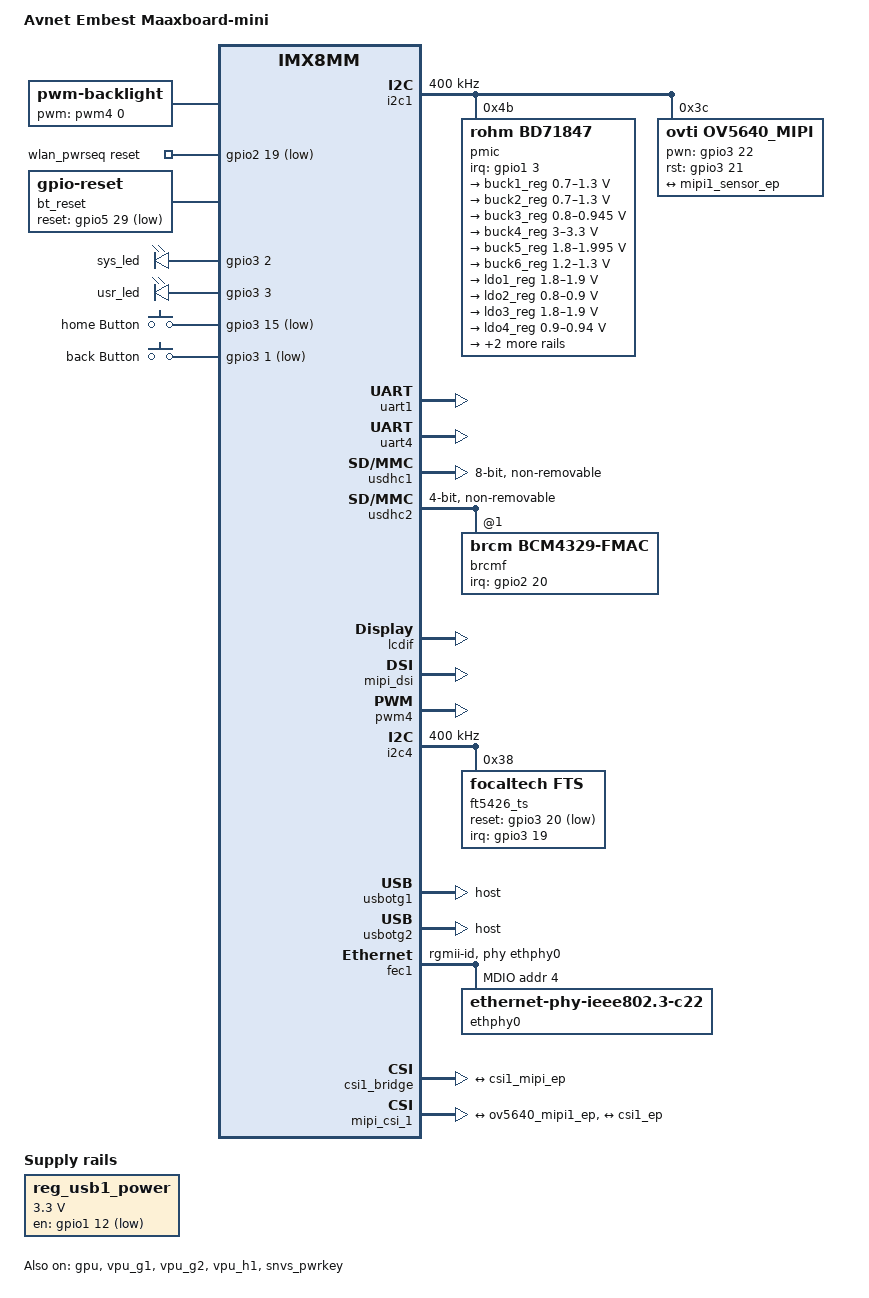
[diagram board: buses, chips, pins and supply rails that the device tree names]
/*
 * Copyright 2019 EMBEST
 *
 * This program is free software; you can redistribute it and/or
 * modify it under the terms of the GNU General Public License
 * as published by the Free Software Foundation; either version 2
 * of the License, or (at your option) any later version.
 *
 * This program is distributed in the hope that it will be useful,
 * but WITHOUT ANY WARRANTY; without even the implied warranty of
 * MERCHANTABILITY or FITNESS FOR A PARTICULAR PURPOSE.  See the
 * GNU General Public License for more details.
 */

/dts-v1/;

#include "imx8mm.dtsi"

/ {
	model = "Avnet Embest Maaxboard-mini";
	compatible = "Avnet Maaxboard-mini", "fsl,imx8mm";

	chosen {
		bootargs = "console=ttymxc1,115200 earlycon=ec_imx6q,0x30890000,115200";
		stdout-path = &uart1;
	};

	regulators {
		compatible = "simple-bus";
		#address-cells = <1>;
		#size-cells = <0>;

		reg_usb1_power: regulator-usb-3v3 {
			compatible = "regulator-fixed";
			regulator-name = "usb1-power-en";
			regulator-min-microvolt = <3300000>;
			regulator-max-microvolt = <3300000>;
			gpio = <&gpio1 12 GPIO_ACTIVE_HIGH>;
			off-on-delay = <1000>;
			startup-delay-us = <300>;
		};
	};

	backlight {
			compatible = "pwm-backlight";
			pwms = <&pwm4 0 40000 0>;
			brightness-levels = <0 8 32 64 96 128 160 192 224 255>;
			default-brightness-level = <8>;
			status = "okay";
	};

    wlan_pwrseq: sdio-pwrseq {
		compatible = "mmc-pwrseq-simple";
		reset-gpios = <&gpio2 19 GPIO_ACTIVE_LOW>;      /* WL_REG_ON */
	};

    bt_reset: bt-reset {
		compatible = "gpio-reset";
		reset-gpios = <&gpio5 29 GPIO_ACTIVE_LOW>;      /* BT_REG_ON */
		reset-delay-us = <1000>;
		reset-post-delay-ms = <40>;
		#reset-cells = <0>;
	};

	leds {
		compatible = "gpio-leds";
		pinctrl-names = "default";
		pinctrl-0 = <&pinctrl_gpio_leds>;
		status = "okay";

		sys_led {
				label = "sys_led";
				gpios = <&gpio3 2 0>;
				default-state = "on";
				linux,default-trigger = "heartbeat";
		};

		usr_led {
				label = "usr_led";
				gpios = <&gpio3 3 0>;
				default-state = "on";
		};

	};

    gpio_keys {
        compatible = "gpio-keys";
        pinctrl-names = "default";
        pinctrl-0 = <&pinctrl_gpio_keys>;

        home {
            label = "home Button";
            gpios = <&gpio3 15 GPIO_ACTIVE_LOW>;
            linux,code = <KEY_HOMEPAGE>;
            wakeup-source;
        };

        back {
            label = "back Button";
            gpios = <&gpio3 1 GPIO_ACTIVE_LOW>;
            linux,code = <KEY_BACK>;
        };
	};
};

&clk {
	assigned-clocks = <&clk IMX8MM_AUDIO_PLL1>, <&clk IMX8MM_AUDIO_PLL2>;
	assigned-clock-rates = <786432000>, <722534400>;
};

&iomuxc {
	pinctrl-names = "default";

	imx8mm-evk {
		pinctrl_usb_enable:usb_enablegrp {
			fsl,pins = <
				MX8MM_IOMUXC_GPIO1_IO12_GPIO1_IO12      		0x02
			>;
		};

		pinctrl_gpio_leds: gpio_ledsgrp {
			fsl,pins = <
				MX8MM_IOMUXC_NAND_CE1_B_GPIO3_IO2                0x19
				MX8MM_IOMUXC_NAND_CE2_B_GPIO3_IO3                0x19
			>;
		};

		pinctrl_gpio_keys: gpio_keysgrp {
			fsl,pins = <
				MX8MM_IOMUXC_NAND_RE_B_GPIO3_IO15   0x144
				MX8MM_IOMUXC_NAND_CE0_B_GPIO3_IO1   0x144
			>;
		};

		pinctrl_i2c1: i2c1grp {
			fsl,pins = <
				MX8MM_IOMUXC_I2C1_SCL_I2C1_SCL      0x400001c3
				MX8MM_IOMUXC_I2C1_SDA_I2C1_SDA      0x400001c3
			>;
		};

		pinctrl_i2c4: i2c4grp {
			fsl,pins = <
				MX8MM_IOMUXC_I2C4_SCL_I2C4_SCL			0x400001c3
				MX8MM_IOMUXC_I2C4_SDA_I2C4_SDA			0x400001c3
			>;
		};

		pinctrl_pmic: pmicirq {
			fsl,pins = <
				MX8MM_IOMUXC_GPIO1_IO03_GPIO1_IO3   0x41
			>;
		};

		pinctrl_uart1: uart1grp {
			fsl,pins = <
				MX8MM_IOMUXC_UART1_RXD_UART1_DCE_RX	0x140
				MX8MM_IOMUXC_UART1_TXD_UART1_DCE_TX	0x140
			>;
		};

		pinctrl_uart4: uart4grp {
			fsl,pins = <
				MX8MM_IOMUXC_ECSPI2_SCLK_UART4_DCE_RX  0x140
				MX8MM_IOMUXC_ECSPI2_MOSI_UART4_DCE_TX  0x140
				MX8MM_IOMUXC_ECSPI2_MISO_UART4_DCE_CTS_B  0x140
				MX8MM_IOMUXC_ECSPI2_SS0_UART4_DCE_RTS_B  0x140
			>;
		};

		pinctrl_usdhc1: usdhc1grp {
			fsl,pins = <
				MX8MM_IOMUXC_SD1_CLK_USDHC1_CLK         0x190
				MX8MM_IOMUXC_SD1_CMD_USDHC1_CMD         0x1d0
				MX8MM_IOMUXC_SD1_DATA0_USDHC1_DATA0     0x1d0
				MX8MM_IOMUXC_SD1_DATA1_USDHC1_DATA1     0x1d0
				MX8MM_IOMUXC_SD1_DATA2_USDHC1_DATA2     0x1d0
				MX8MM_IOMUXC_SD1_DATA3_USDHC1_DATA3     0x1d0
				MX8MM_IOMUXC_SD1_DATA4_USDHC1_DATA4     0x1d0
				MX8MM_IOMUXC_SD1_DATA5_USDHC1_DATA5     0x1d0
				MX8MM_IOMUXC_SD1_DATA6_USDHC1_DATA6     0x1d0
				MX8MM_IOMUXC_SD1_DATA7_USDHC1_DATA7     0x1d0
				MX8MM_IOMUXC_SD1_RESET_B_USDHC1_RESET_B 0x1d0
				MX8MM_IOMUXC_SD1_STROBE_USDHC1_STROBE   0x190
			>;
		};

		pinctrl_usdhc1_100mhz: usdhc1grp100mhz {
			fsl,pins = <
				MX8MM_IOMUXC_SD1_CLK_USDHC1_CLK         0x194
				MX8MM_IOMUXC_SD1_CMD_USDHC1_CMD         0x1d4
				MX8MM_IOMUXC_SD1_DATA0_USDHC1_DATA0     0x1d4
				MX8MM_IOMUXC_SD1_DATA1_USDHC1_DATA1     0x1d4
				MX8MM_IOMUXC_SD1_DATA2_USDHC1_DATA2     0x1d4
				MX8MM_IOMUXC_SD1_DATA3_USDHC1_DATA3     0x1d4
				MX8MM_IOMUXC_SD1_DATA4_USDHC1_DATA4     0x1d4
				MX8MM_IOMUXC_SD1_DATA5_USDHC1_DATA5     0x1d4
				MX8MM_IOMUXC_SD1_DATA6_USDHC1_DATA6     0x1d4
				MX8MM_IOMUXC_SD1_DATA7_USDHC1_DATA7     0x1d4
				MX8MM_IOMUXC_SD1_RESET_B_USDHC1_RESET_B 0x1d4
				MX8MM_IOMUXC_SD1_STROBE_USDHC1_STROBE   0x194
			>;
		};

        pinctrl_usdhc2: usdhc2grp {
			fsl,pins = <
				MX8MM_IOMUXC_SD2_CLK_USDHC2_CLK         0x190
				MX8MM_IOMUXC_SD2_CMD_USDHC2_CMD         0x1d0
				MX8MM_IOMUXC_SD2_DATA0_USDHC2_DATA0     0x1d0
				MX8MM_IOMUXC_SD2_DATA1_USDHC2_DATA1     0x1d0
				MX8MM_IOMUXC_SD2_DATA2_USDHC2_DATA2     0x1d0
				MX8MM_IOMUXC_SD2_DATA3_USDHC2_DATA3     0x1d0
			>;
		};

		pinctrl_usdhc2_100mhz: usdhc2grp100mhz {
			fsl,pins = <
				MX8MM_IOMUXC_SD2_CLK_USDHC2_CLK         0x194
				MX8MM_IOMUXC_SD2_CMD_USDHC2_CMD         0x1d4
				MX8MM_IOMUXC_SD2_DATA0_USDHC2_DATA0     0x1d4
				MX8MM_IOMUXC_SD2_DATA1_USDHC2_DATA1     0x1d4
				MX8MM_IOMUXC_SD2_DATA2_USDHC2_DATA2     0x1d4
				MX8MM_IOMUXC_SD2_DATA3_USDHC2_DATA3     0x1d4
			>;
		};

        pinctrl_wlan_gpio: usdhc2grpwlan {
			fsl,pins = <
                MX8MM_IOMUXC_SD2_RESET_B_GPIO2_IO19     0x41 /* WL_REG_ON */
                MX8MM_IOMUXC_SD2_WP_GPIO2_IO20          0x41 /* WL_HOST_WAKE irq */
                MX8MM_IOMUXC_UART4_TXD_GPIO5_IO29       0x41 /* BT_REG_ON */
                MX8MM_IOMUXC_GPIO1_IO00_ANAMIX_REF_CLK_32K  0x141 /* SUSCLK_IN 32k */
			>;
		};

		pinctrl_mipi_dsi_en: mipi_dsi_en {
			fsl,pins = <
				MX8MM_IOMUXC_GPIO1_IO09_GPIO1_IO9	0x16 /*DSI_EN*/
			>;
		};

		pinctrl_pwm4: pwm4_grp {
			fsl,pins = <
					MX8MM_IOMUXC_SAI3_MCLK_PWM4_OUT  0x06
			>;
		};

		pinctrl_ts_ft5426: ft5426_pinsgrp {
			fsl,pins = <
				MX8MM_IOMUXC_SAI5_RXFS_GPIO3_IO19  0x19 /* DSI_TS_nINT */
				MX8MM_IOMUXC_SAI5_RXC_GPIO3_IO20   0x19 /* DSI_TS_RST */
			>;
		};

		pinctrl_fec1: fec1grp {
			fsl,pins = <
				MX8MM_IOMUXC_ENET_MDC_ENET1_MDC		0x3
				MX8MM_IOMUXC_ENET_MDIO_ENET1_MDIO	0x3
				MX8MM_IOMUXC_ENET_TD3_ENET1_RGMII_TD3	0x1f
				MX8MM_IOMUXC_ENET_TD2_ENET1_RGMII_TD2	0x1f
				MX8MM_IOMUXC_ENET_TD1_ENET1_RGMII_TD1	0x1f
				MX8MM_IOMUXC_ENET_TD0_ENET1_RGMII_TD0	0x1f
				MX8MM_IOMUXC_ENET_RD3_ENET1_RGMII_RD3	0x91
				MX8MM_IOMUXC_ENET_RD2_ENET1_RGMII_RD2	0x91
				MX8MM_IOMUXC_ENET_RD1_ENET1_RGMII_RD1	0x91
				MX8MM_IOMUXC_ENET_RD0_ENET1_RGMII_RD0	0x91
				MX8MM_IOMUXC_ENET_TXC_ENET1_RGMII_TXC	0x1f
				MX8MM_IOMUXC_ENET_RXC_ENET1_RGMII_RXC	0x91
				MX8MM_IOMUXC_ENET_RX_CTL_ENET1_RGMII_RX_CTL	0x91
				MX8MM_IOMUXC_ENET_TX_CTL_ENET1_RGMII_TX_CTL	0x1f
				MX8MM_IOMUXC_GPIO1_IO07_GPIO1_IO7	0x19
			>;
		};

		pinctrl_csi_pwn: csi_pwn_grp {
			fsl,pins = <
				MX8MM_IOMUXC_SAI5_RXD1_GPIO3_IO22		0x19
			>;
		};

		pinctrl_csi_rst: csi_rst_grp {
			fsl,pins = <
				MX8MM_IOMUXC_SAI5_RXD0_GPIO3_IO21		0x19
			>;
		};
	};
};

&i2c1 {
	clock-frequency = <400000>;
	pinctrl-names = "default";
	pinctrl-0 = <&pinctrl_i2c1>;
	status = "okay";

	pmic@4b {
		compatible = "rohm,bd71847";
		reg = <0x4b>;
		pinctrl-0 = <&pinctrl_pmic>;
		interrupt-parent = <&gpio1>;
		interrupts = <3 GPIO_ACTIVE_LOW>;
		rohm,reset-snvs-powered;

		regulators {
			buck1_reg: BUCK1 {
				regulator-name = "BUCK1";
				regulator-min-microvolt = <700000>;
				regulator-max-microvolt = <1300000>;
				regulator-boot-on;
				regulator-always-on;
				regulator-ramp-delay = <1250>;
			};

			buck2_reg: BUCK2 {
				regulator-name = "BUCK2";
				regulator-min-microvolt = <700000>;
				regulator-max-microvolt = <1300000>;
				regulator-boot-on;
				regulator-always-on;
				regulator-ramp-delay = <1250>;
				rohm,dvs-run-voltage = <1000000>;
				rohm,dvs-idle-voltage = <900000>;
			};

			buck3_reg: BUCK3 {
				// BUCK5 in datasheet
				regulator-name = "BUCK3";
				regulator-min-microvolt = <800000>;
				regulator-max-microvolt = <945000>;
				regulator-boot-on;
				regulator-always-on;
			};

			buck4_reg: BUCK4 {
				// BUCK6 in datasheet
				regulator-name = "BUCK4";
				regulator-min-microvolt = <3000000>;
				regulator-max-microvolt = <3300000>;
				regulator-boot-on;
				regulator-always-on;
			};

			buck5_reg: BUCK5 {
				// BUCK7 in datasheet
				regulator-name = "BUCK5";
				regulator-min-microvolt = <1800000>;
				regulator-max-microvolt = <1995000>;
				regulator-boot-on;
				regulator-always-on;
			};

			buck6_reg: BUCK6 {
				// BUCK8 in datasheet
				regulator-name = "BUCK6";
				regulator-min-microvolt = <1200000>;
				regulator-max-microvolt = <1300000>;
				regulator-boot-on;
				regulator-always-on;
			};

			ldo1_reg: LDO1 {
				regulator-name = "LDO1";
				regulator-min-microvolt = <1800000>;
				regulator-max-microvolt = <1900000>;
				regulator-boot-on;
				regulator-always-on;
			};

			ldo2_reg: LDO2 {
				regulator-name = "LDO2";
				regulator-min-microvolt = <800000>;
				regulator-max-microvolt = <900000>;
				regulator-boot-on;
				regulator-always-on;
			};

			ldo3_reg: LDO3 {
				regulator-name = "LDO3";
				regulator-min-microvolt = <1800000>;
				regulator-max-microvolt = <1900000>;
				regulator-boot-on;
				regulator-always-on;
			};

			ldo4_reg: LDO4 {
				regulator-name = "LDO4";
				regulator-min-microvolt = <900000>;
				regulator-max-microvolt = <940000>;
				regulator-boot-on;
				regulator-always-on;
			};

			ldo5_reg: LDO5 {
				regulator-name = "LDO5";
				regulator-min-microvolt = <2500000>;
				regulator-max-microvolt = <2700000>;
				regulator-boot-on;
				regulator-always-on;
			};

			ldo6_reg: LDO6 {
				regulator-name = "LDO6";
				regulator-min-microvolt = <1200000>;
				regulator-max-microvolt = <1260000>;
				regulator-boot-on;
				regulator-always-on;
			};
		};
	};

	ov5640_mipi: ov5640_mipi@3c {
		compatible = "ovti,ov5640_mipi";
		reg = <0x3c>;
		status = "okay";
		pinctrl-names = "default";
		pinctrl-0 = <&pinctrl_csi_pwn>, <&pinctrl_csi_rst>;
		clocks = <&clk IMX8MM_CLK_CLKO1>;
		clock-names = "csi_mclk";
		csi_id = <0>;
		pwn-gpios = <&gpio3 22 GPIO_ACTIVE_HIGH>;
		rst-gpios = <&gpio3 21 GPIO_ACTIVE_HIGH>;
		mclk = <24000000>;
		mclk_source = <0>;
		port {
			ov5640_mipi1_ep: endpoint {
				remote-endpoint = <&mipi1_sensor_ep>;
			};
		};
	};
};

&uart1 { /* console */
	pinctrl-names = "default";
	pinctrl-0 = <&pinctrl_uart1>;
	status = "okay";
};

&uart4 {
	pinctrl-names = "default";
	pinctrl-0 = <&pinctrl_uart4>;
	assigned-clocks = <&clk IMX8MM_CLK_UART4>;
	assigned-clock-parents = <&clk IMX8MM_SYS_PLL1_80M>;
	fsl,uart-has-rtscts;
	resets = <&bt_reset>;
	status = "okay";
};

&usdhc1 {
	pinctrl-names = "default", "state_100mhz";
	pinctrl-0 = <&pinctrl_usdhc1>;
	pinctrl-1 = <&pinctrl_usdhc1_100mhz>;
	bus-width = <8>;
	no-1-8-v;
	non-removable;
	status = "okay";
};

&usdhc2 {
	pinctrl-names = "default", "state_100mhz";
	pinctrl-0 = <&pinctrl_usdhc2>, <&pinctrl_wlan_gpio>;
	pinctrl-1 = <&pinctrl_usdhc2_100mhz>, <&pinctrl_wlan_gpio>;
	bus-width = <4>;
	mmc-pwrseq = <&wlan_pwrseq>;
	no-1-8-v;
	non-removable;
	pm-ignore-notify;
	cap-power-off-card;
	status = "okay";

	#address-cells = <1>;
	#size-cells = <0>;
	brcmf: bcrmf@1 {
			reg = <1>;
			compatible = "brcm,bcm4329-fmac";
			interrupt-parent = <&gpio2>;
			interrupts = <20 IRQ_TYPE_LEVEL_LOW>;
			interrupt-names = "host-wake";
        };
};

&A53_0 {
	arm-supply = <&buck2_reg>;
};

&gpu {
	status = "okay";
};

&vpu_g1 {
	status = "okay";
};

&vpu_g2 {
	status = "okay";
};

&vpu_h1 {
	status = "okay";
};

&lcdif {
	status = "okay";
};

&mipi_dsi {
	status = "okay";
};

&pwm4 {
        pinctrl-names = "default";
        pinctrl-0 = <&pinctrl_pwm4>;
        status = "okay";
};

&i2c4 {
	clock-frequency = <400000>;
	pinctrl-names = "default";
	pinctrl-0 = <&pinctrl_i2c4>;
	status = "okay";

	ft5426_ts@38 {
			compatible = "focaltech,fts";
			reg = <0x38>;
			pinctrl-0 = <&pinctrl_ts_ft5426>;

			interrupt-parent = <&gpio3>;
			interrupts = <19 2>;
			focaltech,reset-gpio = <&gpio3 20 0x01>;
			focaltech,irq-gpio = <&gpio3 19 0x02>;
			focaltech,max-touch-number = <10>;
			focaltech,panel-type = <0x54260002>;/* _FT5426 */
			focaltech,display-coords =  <0 0 720 1280>;
			focaltech,have-key;
			focaltech,key-number = <3>;
			focaltech,keys = <139 102 158>;
			focaltech,key-y-coord = <2000>;
			focaltech,key-x-coords = <200 600 800>;
	};
};

&usbotg1 {
	dr_mode = "host";
	picophy,pre-emp-curr-control = <3>;
	picophy,dc-vol-level-adjust = <7>;
	status = "okay";
};

&usbotg2 {
	dr_mode = "host";
	picophy,pre-emp-curr-control = <3>;
	picophy,dc-vol-level-adjust = <7>;
	status = "okay";
};

&fec1 {
	pinctrl-names = "default";
	pinctrl-0 = <&pinctrl_fec1>;
	phy-mode = "rgmii-id";
	phy-handle = <&ethphy0>;
	fsl,magic-packet;
	status = "okay";

	mdio {
		#address-cells = <1>;
		#size-cells = <0>;

		ethphy0: ethernet-phy@4 {
			compatible = "ethernet-phy-ieee802.3-c22";
			reg = <4>;
			at803x,led-act-blind-workaround;
			at803x,eee-okay;
			at803x,vddio-1p8v;
		};
	};
};

&csi1_bridge {
	fsl,mipi-mode;
    /*fsl,two-8bit-sensor-mode;*/
	status = "okay";
	port {
		csi1_ep: endpoint {
			remote-endpoint = <&csi1_mipi_ep>;
		};
	};
};

&mipi_csi_1 {
	#address-cells = <1>;
	#size-cells = <0>;
	status = "okay";
	port {
		mipi1_sensor_ep: endpoint@1 {
			remote-endpoint = <&ov5640_mipi1_ep>;
			data-lanes = <2>;
			csis-hs-settle = <13>;
			csis-clk-settle = <2>;
			csis-wclk;
		};

		csi1_mipi_ep: endpoint@2 {
			remote-endpoint = <&csi1_ep>;
		};
	};
};

&snvs_pwrkey {
	status = "okay";
};

